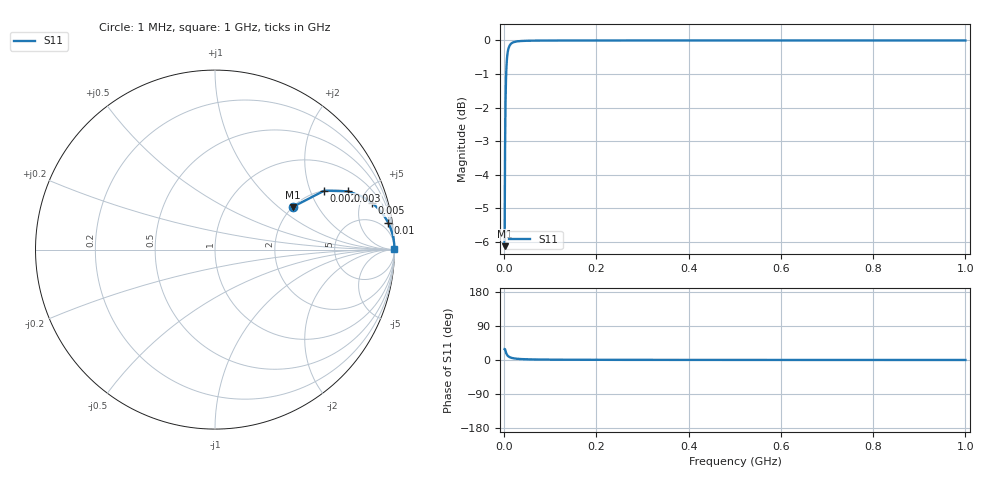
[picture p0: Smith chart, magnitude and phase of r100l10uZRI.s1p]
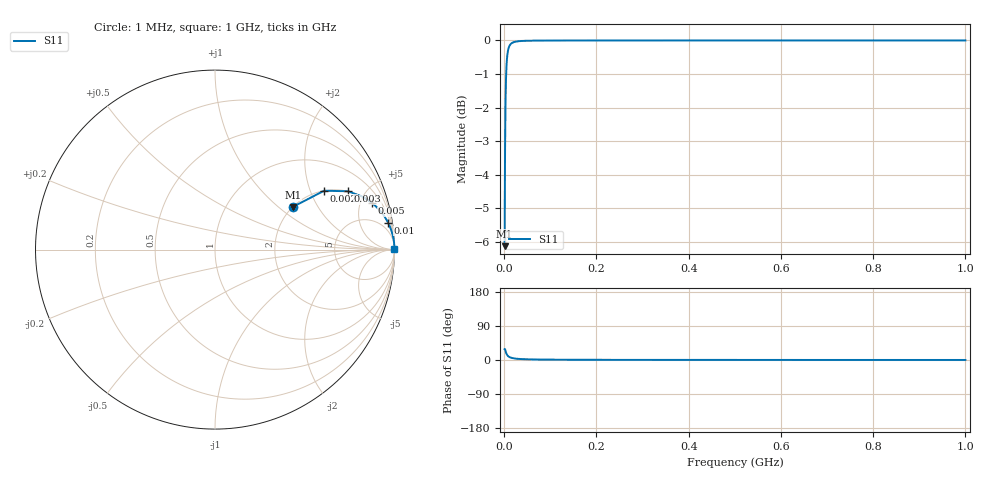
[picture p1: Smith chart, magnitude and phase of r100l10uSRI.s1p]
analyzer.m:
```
% Reads touchstone file and plots information 
%
% EXAMPLE :
% IN.file = '../sample_files/bsp1.s1p';
% IN.filecomp = '../sample_files/bsp1.s1p.tmp';
% 
<<<<<<< HEAD
% 
clear
clf
addpath incomming/s-param_toolbox/sbox/

IN.file = '../sample_files/r100l10uZRI.s1p';
=======
clf
%close all
addpath 'incomming/s-param_toolbox/sbox'

 IN.inFilenmbr=14;
 %IN.file = ['../sample_files/bsp' int2str(IN.inFilenmbr) '.s1p'];
 %IN.filecomp = ['../sample_files/bsp' int2str(IN.inFilenmbr) '.s1p.tmp'];

 IN.file = ['../sample_files/r100l10uSRI.s1p'];
 IN.filecomp = ['../sample_files/r100l10uSRI.s1p.tmp'];
>>>>>>> 53715455d6c8bd48a7d8d2eebc97b316efc69a6a

% read Datafile
fid_log = fopen('SXPParse_log.txt','w');
[freq, data, freq_noise, data_noise, Zo] = SXPParse(IN.file, fid_log);

A = load(IN.filecomp);
A = A(:,1) + A(:,2)*j;

<<<<<<< HEAD
% Extract data from one port
data = s2z(data);
parsed = data(:);
=======

%data = s2z(data);
data = s2y(Zo,data);
data2=data(:); % Data to compares
>>>>>>> 53715455d6c8bd48a7d8d2eebc97b316efc69a6a

% Extract data from one port
parsed = data2(:);

% Calculate Error
abs_error=abs(A)-abs(parsed);
angle_error=angle(A)-angle(parsed);
re_error=real(A)-real(parsed);
im_error=imag(A)-imag(parsed);

% Plotting
subplot(221)
loglog(freq,abs(parsed),'b')
title('magnitude')
grid on

subplot(222)
semilogx(freq,angle(parsed))
title('phase')
grid on

<<<<<<< HEAD
subplot(222)
plot(freq,real(parsed))
grid on
=======
subplot(2,2,[3 4])
hold on
plot(freq,abs_error,'LineWidth',2)
plot(freq,angle_error,'LineWidth',2)
plot(freq,re_error,'LineWidth',2)
plot(freq,im_error,'LineWidth',2)
title('deviation between MATLAB and Java')
grid on;
legend('abs error','angle error','re error','im error')
>>>>>>> 53715455d6c8bd48a7d8d2eebc97b316efc69a6a
%smithchart(parsed)

% figure()
% subplot(2,1,1)
% hold on
% grid on
% plot(freq,real(parsed)','LineWidth',1)
% %plot(freq,imag(parsed)','LineWidth',1)
% plot(freq,real(A)','LineWidth',1)
% %plot(freq,imag(A)','LineWidth',1)
% legend('Real MATLAB','Real Java')
% 
% 
% subplot(2,1,2)
% hold on
% grid on
% %plot(freq,real(parsed)','LineWidth',1)
% plot(freq,imag(parsed)','LineWidth',1)
% %plot(freq,real(A)','LineWidth',1)
% plot(freq,imag(A)','LineWidth',1)
% legend('Imag MATLAB','Imag Java')



MaxDeviation=max(abs(A)-abs(parsed))

% This only works with RF toolbox
% data = read(rfdata.data,'../sample_files/bsp1.s1p');

% Calculate R and L
% index=1;
% 
% R=real(A(index))
% 
% w=2*pi*freq(index);
% xl=imag(A(index));
% l=xl/w
```
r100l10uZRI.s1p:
! AWR Design Environment (7670) Wed Mar 16 14:40:56 2016
! Document = 'RL'
! nPorts: 1, nXvals: 1000
# HZ Z RI R 50
!Freq ReZ11 ImZ11
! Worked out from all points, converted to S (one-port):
!   1000 points, 1 MHz to 1 GHz, reference 50 ohm
!   lowest |S11| = -6.1 dB at 1 MHz (marker M1), VSWR 2.95, Z = 100 + j62.8 ohm
!   |S11| at or under -10 dB: nowhere
!   S11 on the Smith chart (normalised r, x): 1 MHz: 2.00, +1.26; 2 MHz: 2.00, +2.51; 3 MHz: 2.00, +3.77; 5 MHz: 2.00, +6.28; 10 MHz: 2, +13; 1 GHz: open
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1000000  2 1.257
2000000  2 2.513
3000000  2 3.77
5000000  2 6.283
7000000  2 8.796
8000000  2 10.05
1e7  2 12.57
1.6e7  2 20.11
2.4e7  2 30.16
5.7e7  2 71.63
1.38e8  2 173.4
3.34e8  2 419.7
6.67e8  2 838.2
1e9  2 1257
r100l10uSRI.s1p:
! <<<<<<< HEAD
! AWR Design Environment (7670) Wed Mar 16 14:40:56 2016
! AWR Design Environment (7670) Fri Mar 18 13:37:58 2016
! >>>>>>> 53715455d6c8bd48a7d8d2eebc97b316efc69a6a
! Document = 'RL'
! nPorts: 1, nXvals: 1000
# HZ S RI R 50
!Freq ReS11 ImS11
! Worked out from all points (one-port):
!   1000 points, 1 MHz to 1 GHz, reference 50 ohm
!   lowest |S11| = -6.1 dB at 1 MHz (marker M1), VSWR 2.95, Z = 100 + j62.8 ohm
!   |S11| at or under -10 dB: nowhere
!   S11 on the Smith chart (normalised r, x): 1 MHz: 2.00, +1.26; 2 MHz: 2.00, +2.51; 3 MHz: 2.00, +3.77; 5 MHz: 2.00, +6.28; 10 MHz: 2, +13; 1 GHz: open
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1000000  0.4328 0.2376
2000000  0.6083 0.3282
3000000  0.7415 0.3248
5000000  0.8762 0.2592
7000000  0.9305 0.2037
8000000  0.9455 0.1827
1e7  0.9641 0.1506
1.6e7  0.9855 0.0973
2.4e7  0.9935 0.0657
5.7e7  0.9988 0.0279
1.38e8  0.9998 0.0115
3.34e8  1 0.00476
6.67e8  1 0.00239
1e9  1 0.00159
